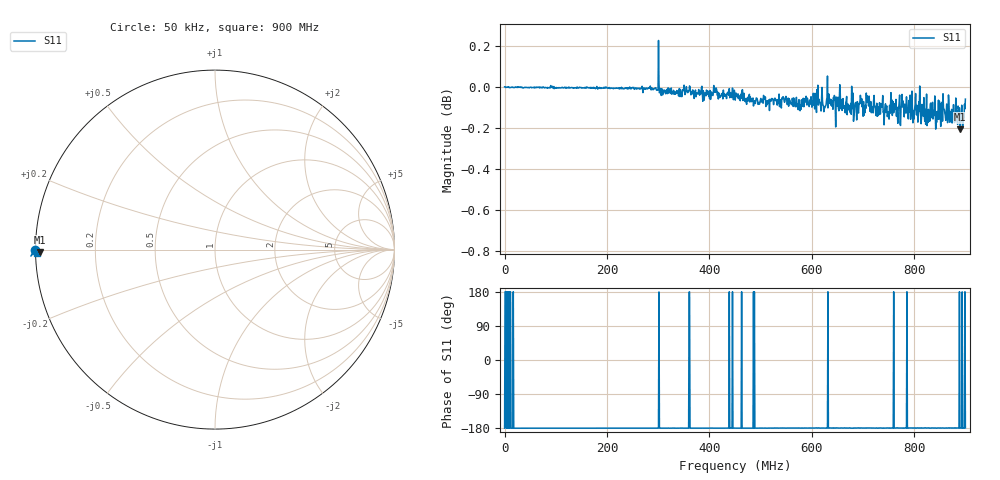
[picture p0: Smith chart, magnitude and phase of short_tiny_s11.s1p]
# Hz S RI R 50
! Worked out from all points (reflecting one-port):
!   1010 points, 50 kHz to 900 MHz, reference 50 ohm
!   lowest |S11| = -0.2 dB at 889.3 MHz (marker M1), VSWR 84.08, Z = 0.595 - j0.359 ohm
!   phase of S11 starts at -180 deg and turns +1 deg over the sweep
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50000  -1 -0.00115
1.13324e8  -0.9998 -0.00132
2.257061e8  -0.9991 -0.00208
2.952761e8  -0.9995 -0.0029
2.9706e8  -0.9981 -0.00306
3.068711e8  -0.9975 -0.0051
3.380883e8  -0.9975 -0.00363
4.504706e8  -0.9926 -0.00274
4.843635e8  -0.9935 -0.00225
5.628528e8  -0.992 -0.00792
6.252872e8  -0.9882 -0.0121
6.324226e8  -0.9904 -0.00672
6.645317e8  -0.9865 -0.0143
6.752348e8  -0.9857 -0.00373
6.796944e8  -0.9879 -0.00469
6.877217e8  -0.9816 -0.00776
7.109116e8  -0.9893 -0.0101
7.242905e8  -0.9875 -0.00861
7.697786e8  -0.9883 -0.00663
7.742382e8  -0.9881 -0.00612
7.87617e8  -0.9862 -0.00787
8.063474e8  -0.9873 -0.0166
8.241859e8  -0.996 -0.00468
8.536193e8  -0.988 -0.00487
8.714577e8  -0.9826 -0.0093
8.892961e8  -0.9764 -0.014
8.946476e8  -0.977 -0.00532
8.999992e8  -0.993 -0.018
